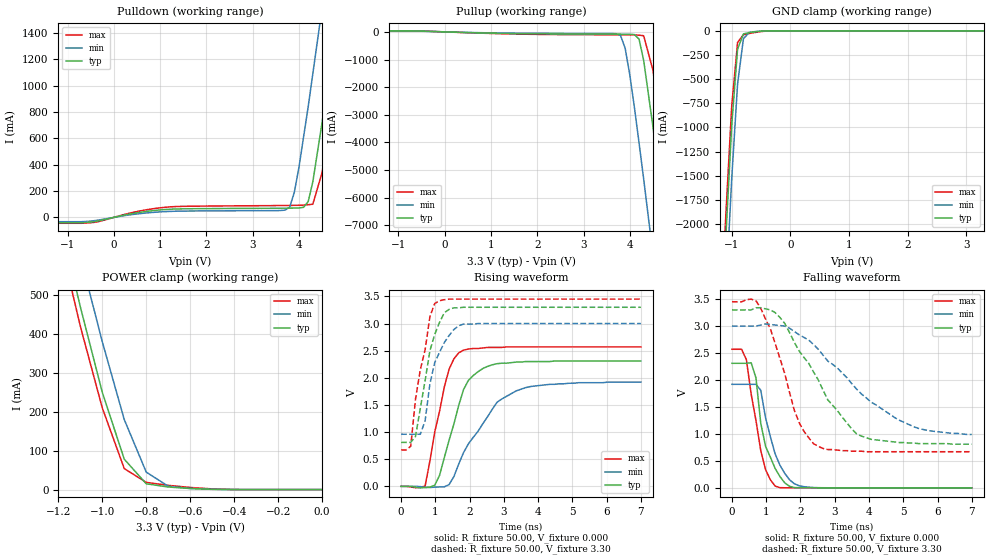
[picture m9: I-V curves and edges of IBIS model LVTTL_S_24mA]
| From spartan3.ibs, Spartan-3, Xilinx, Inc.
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|   Model LVTTL_S_24mA
[Model]   LVTTL_S_24mA
Model_type   I/O
Polarity   Non-Inverting
Enable   Active-Low
Vinl =   0.80V
Vinh =   2.00V
Vmeas =   1.40V
Cref =  0.000F
Rref =  1.00M
Vref =  0.000V
C_comp   6.38pF   4.60pF   8.23pF
[Temperature Range]   25.00   85.00   0.000
[Voltage Range]   3.30V   3.00V   3.45V
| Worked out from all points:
|   slope of the pulldown table from 0 to 0.495 V, typ, clamps not added: 14.2 ohm
|   slope of the pullup table from 0 to 0.495 V, typ, clamps not added: 19.3 ohm
|   GND clamp passes 1 mA (typ) near -0.41 V on its own axis
|   POWER clamp passes 1 mA (typ) near -0.52 V on its own axis
|   rising waveform, R_fixture 50.00, V_fixture 0.000: 20-80 % time 645ps typ, 1.12ns min, 504ps max; typ from 0 V to 2.31 V
|   rising waveform, R_fixture 50.00, V_fixture 3.30: 20-80 % time 457ps typ, 482ps min, 428ps max; typ from 0.81 V to 3.3 V
|   falling waveform, R_fixture 50.00, V_fixture 0.000: 20-80 % time 460ps typ, 518ps min, 420ps max; typ from 2.31 V to 0 V
|   falling waveform, R_fixture 50.00, V_fixture 3.30: 20-80 % time 1.48ns typ, 2.07ns min, 801ps max; typ from 3.3 V to 0.81 V
[Pulldown]
| voltage   I(typ)   I(min)   I(max)
-3.3V     -40.43mA   -32.72mA   -44.55mA
-600mV    -38.42mA   -30.79mA   -42.81mA
1.2V      61.59mA    45.24mA    79.52mA
3.7V      69.78mA    54.99mA    90.3mA
3.9V      70.55mA    190mA      91.25mA
4.2V      120mA      840mA      96mA
4.3V      270mA      1.09A      100mA
4.5V      720mA      1.59A      340mA
4.7V      1.21A      2.1A       800mA
4.9V      1.72A      2.61A      1.3A
5.1V      2.24A      3.13A      1.8A
6.6V      6.17A      7.07A      5.73A
[Pullup]
| voltage   I(typ)   I(min)   I(max)
-3.3V     35.47mA    28.43mA    39.51mA
3.8V      -82.35mA   -130mA     -110mA
3.9V      -83.4mA    -590mA     -110mA
4V        -86.83mA   -1.55A     -110mA
4.1V      -97.73mA   -2.73A     -110mA
4.2V      -260mA     -4.01A     -120mA
4.3V      -1.03A     -5.32A     -140mA
4.5V      -3.42A     -8.04A     -1.38A
4.7V      -6.09A     -10.8A     -3.86A
4.9V      -8.85A     -13.59A    -6.55A
5.1V      -11.64A    -16.41A    -9.32A
6.6V      -33A       -37.78A    -30.66A
[GND_clamp]
| voltage   I(typ)   I(min)   I(max)
-3.3V     -33A       -33.48A    -32.8A
-1.2V     -3.4A      -4A        -3.16A
-1.1V     -2.13A     -2.72A     -1.9A
-1V       -980mA     -1.53A     -780mA
-900mV    -190mA     -550mA     -120mA
-800mV    -31.95mA   -81.14mA   -40.65mA
-700mV    -17.68mA   -16.88mA   -27.48mA
-400mV    -680uA     -760uA     -2.23mA
3.3V      5.7nA      14.1uA     38.75nA
[POWER_clamp]
| voltage   I(typ)   I(min)   I(max)
-3.3V     6.17A      6.28A      6.12A
-1.2V     710mA      840mA      660mA
-1.1V     470mA      600mA      420mA
-1V       250mA      380mA      210mA
-900mV    78.2mA     180mA      53.88mA
-800mV    14.96mA    44.93mA    18.61mA
-700mV    6.69mA     8.78mA     10.98mA
-600mV    2.8mA      2.96mA     5.51mA
-400mV    81.6uA     140uA      290uA
0V        5.7nA      29.91nA    46.43nA
[Ramp]
| variable   typ   min   max
dV/dt_r   1.39/0.71n   1.15/1.15n   1.54/0.46n
dV/dt_f   1.49/1.43n   1.21/2.06n   1.67/0.87n
R_load = 50.00
[Rising Waveform]
R_fixture = 50.00
V_fixture = 0.000
| time   V(typ)   V(min)   V(max)
0s        0V         0V         0V
700ps     -22.21mV   -18.63mV   6.1mV
1.12ns    200mV      -11.02mV   1.38V
1.4ns     850mV      32.28mV    2.16V
1.68ns    1.49V      410mV      2.46V
1.96ns    1.95V      780mV      2.53V
2.24ns    2.11V      1.01V      2.54V
2.8ns     2.26V      1.55V      2.56V
3.36ns    2.29V      1.76V      2.57V
7ns       2.31V      1.92V      2.57V
[Rising Waveform]
R_fixture = 50.00
V_fixture = 3.30
V_fixture_min = 3.00
V_fixture_max = 3.45
| time   V(typ)   V(min)   V(max)
0s        810mV      960mV      670mV
280ps     810mV      960mV      740mV
420ps     920mV      960mV      1.61V
560ps     1.44V      960mV      2.15V
700ps     1.95V      1.21V      2.52V
840ps     2.5V       1.89V      3.13V
980ps     2.8V       2.28V      3.37V
1.26ns    3.2V       2.65V      3.44V
1.82ns    3.3V       2.99V      3.45V
7ns       3.3V       3V         3.45V
[Falling Waveform]
R_fixture = 50.00
V_fixture = 0.000
| time   V(typ)   V(min)   V(max)
0s        2.31V      1.92V      2.57V
420ps     2.31V      1.92V      2.38V
560ps     2.32V      1.92V      1.74V
700ps     2.04V      1.92V      1.25V
840ps     1.2V       1.81V      690mV
980ps     770mV      1.3V       340mV
1.26ns    360mV      630mV      32.69mV
1.68ns    28.34mV    150mV      1.41mV
2.1ns     1.81mV     21.71mV    990uV
7ns       16.08uV    110uV      0V
[Falling Waveform]
R_fixture = 50.00
V_fixture = 3.30
V_fixture_min = 3.00
V_fixture_max = 3.45
| time   V(typ)   V(min)   V(max)
0s        3.3V       3V         3.45V
560ps     3.3V       3V         3.5V
840ps     3.34V      3.02V      3.33V
1.4ns     3.16V      3.01V      2.4V
1.96ns    2.54V      2.84V      1.21V
2.38ns    2.15V      2.66V      820mV
2.8ns     1.63V      2.35V      710mV
3.64ns    1V         1.83V      680mV
5.32ns    830mV      1.13V      670mV
7ns       810mV      990mV      670mV
